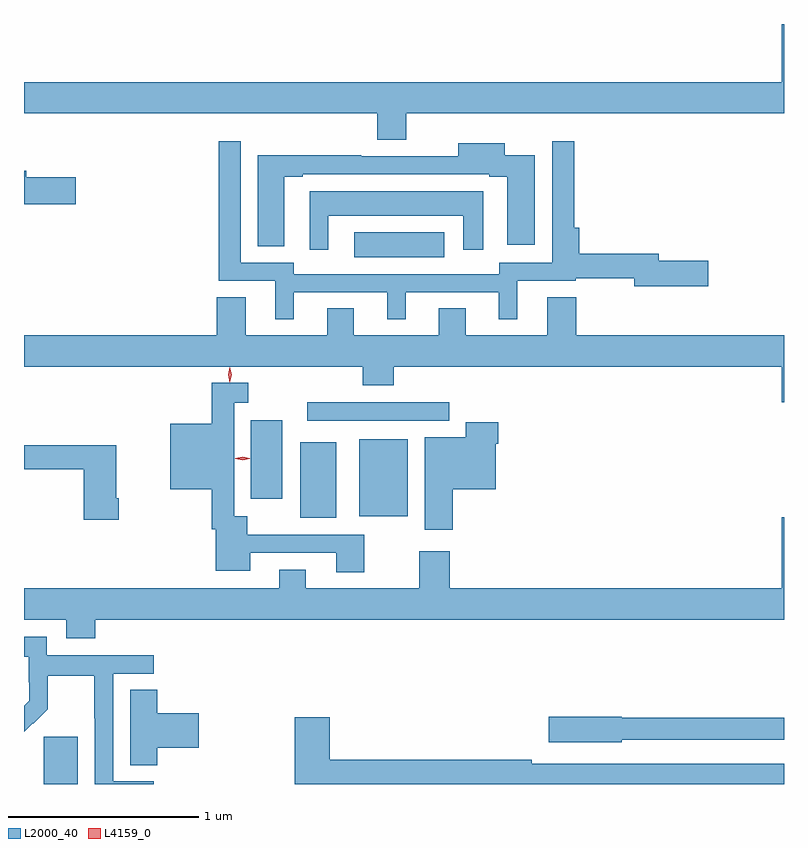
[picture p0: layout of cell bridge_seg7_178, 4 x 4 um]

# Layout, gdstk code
import gdstk
lib = gdstk.Library(unit=1e-6, precision=1e-09)
def R(c, l, rs):  # rectangles x0, y0, x1, y1
    for r in rs: c.add(gdstk.rectangle(r[:2], r[2:], *l))
def P(c, l, *ps):  # polygons
    for p in ps: c.add(gdstk.Polygon(p, *l))
L2000_40 = (2000, 40)
L4159_0 = (4159, 0)

bridge_seg7_178 = lib.new_cell('bridge_seg7_178')
R(bridge_seg7_178, L2000_40, [(448.838,1027.723,449.017,1027.971), (450.188,1029.125,450.376,1029.523), (450.497,1029.131,450.754,1029.538), (449.927,1029.225,450.091,1029.637), (450.225,1029.636,450.97,1029.732), (450.471,1030.496,450.946,1030.627)])
P(bridge_seg7_178, L2000_40, [(450.745,1031.252),(452.733,1031.252),(452.733,1031.723),(452.72,1031.723),(452.72,1031.416),(448.733,1031.416),(448.733,1031.252),(450.593,1031.252),(450.593,1031.113),(450.745,1031.113)],
  [(450.154,1030.311),(450.644,1030.311),(450.644,1030.17),(450.742,1030.17),(450.742,1030.311),(451.232,1030.311),(451.232,1030.17),(451.33,1030.17),(451.33,1030.371),(451.638,1030.371),(451.638,1030.386),(451.946,1030.386),(451.946,1030.343),(452.335,1030.343),(452.335,1030.478),(452.074,1030.478),(452.074,1030.514),(451.655,1030.514),(451.655,1030.651),(451.628,1030.651),(451.628,1031.107),(451.512,1031.107),(451.512,1030.467),(451.233,1030.467),(451.233,1030.407),(450.153,1030.407),(450.153,1030.467),(449.874,1030.467),(449.874,1031.107),(449.758,1031.107),(449.758,1030.371),(450.056,1030.371),(450.056,1030.17),(450.154,1030.17)],
  [(450.103,1030.92),(450.199,1030.92),(450.199,1030.932),(451.181,1030.932),(451.181,1030.92),(451.277,1030.92),(451.277,1030.56),(451.42,1030.56),(451.42,1031.031),(451.264,1031.031),(451.264,1031.095),(451.019,1031.095),(451.019,1031.028),(450.509,1031.028),(450.509,1031.031),(449.963,1031.031),(449.963,1030.554),(450.103,1030.554)],
  [(449.005,1030.917),(448.744,1030.917),(448.744,1030.951),(448.733,1030.951),(448.733,1030.775),(449.005,1030.775)],
  [(450.334,1030.715),(451.046,1030.715),(451.046,1030.536),(451.15,1030.536),(451.15,1030.843),(450.236,1030.843),(450.236,1030.536),(450.334,1030.536)],
  [(452.733,1030.084),(451.64,1030.084),(451.64,1030.286),(451.487,1030.286),(451.487,1030.084),(451.057,1030.084),(451.057,1030.226),(450.917,1030.226),(450.917,1030.084),(450.469,1030.084),(450.469,1030.226),(450.329,1030.226),(450.329,1030.084),(449.899,1030.084),(449.899,1030.286),(449.747,1030.286),(449.747,1030.084),(448.733,1030.084),(448.733,1029.92),(450.515,1029.92),(450.515,1029.821),(450.68,1029.821),(450.68,1029.92),(452.72,1029.92),(452.72,1029.732),(452.733,1029.732)],
  [(450.525,1029.036),(449.908,1029.036),(449.908,1029.133),(449.839,1029.133),(449.839,1029.729),(449.914,1029.729),(449.914,1029.835),(449.722,1029.835),(449.722,1029.619),(449.504,1029.619),(449.504,1029.275),(449.722,1029.275),(449.722,1029.065),(449.741,1029.065),(449.741,1028.846),(449.923,1028.846),(449.923,1028.94),(450.377,1028.94),(450.377,1028.838),(450.525,1028.838)],
  [(450.989,1029.275),(451.216,1029.275),(451.216,1029.515),(451.229,1029.515),(451.229,1029.628),(451.058,1029.628),(451.058,1029.547),(450.842,1029.547),(450.842,1029.06),(450.989,1029.06)],
  [(449.231,1029.226),(449.218,1029.226),(449.218,1029.507),(448.733,1029.507),(448.733,1029.379),(449.048,1029.379),(449.048,1029.114),(449.231,1029.114)],
  [(449.108,1028.588),(452.733,1028.588),(452.733,1029.127),(452.72,1029.127),(452.72,1028.752),(450.974,1028.752),(450.974,1028.947),(450.814,1028.947),(450.814,1028.752),(450.217,1028.752),(450.217,1028.851),(450.077,1028.851),(450.077,1028.752),(448.733,1028.752),(448.733,1028.588),(448.955,1028.588),(448.955,1028.489),(449.108,1028.489)],
  [(449.416,1027.737),(449.202,1027.737),(449.202,1028.304),(449.416,1028.304),(449.416,1028.4),(448.854,1028.4),(448.854,1028.497),(448.733,1028.497),(448.733,1028.393),(448.758,1028.393),(448.758,1028.259),(448.76,1028.259),(448.76,1028.162),(448.733,1028.135),(448.733,1027.997),(448.779,1028.043),(448.782,1028.04),(448.859,1028.117),(448.859,1028.292),(449.104,1028.292),(449.104,1028.068),(449.106,1028.068),(449.106,1027.723),(449.416,1027.723)],
  [(449.435,1027.913),(449.653,1027.913),(449.653,1028.096),(449.435,1028.096),(449.435,1028.219),(449.291,1028.219),(449.291,1027.822),(449.435,1027.822)],
  [(451.878,1027.956),(452.733,1027.956),(452.733,1028.072),(451.878,1028.072),(451.878,1028.078),(451.494,1028.078),(451.494,1027.943),(451.878,1027.943)],
  [(452.733,1027.83),(451.406,1027.83),(451.406,1027.85),(450.341,1027.85),(450.341,1028.074),(450.158,1028.074),(450.158,1027.723),(452.733,1027.723)])
P(bridge_seg7_178, L4159_0, [(449.884,1029.426),(449.846,1029.436),(449.846,1029.436),(449.846,1029.437),(449.884,1029.446),(449.922,1029.437),(449.922,1029.436),(449.922,1029.436)],
  [(449.817,1029.834),(449.816,1029.835),(449.807,1029.876),(449.816,1029.917),(449.817,1029.917),(449.817,1029.917),(449.827,1029.876),(449.817,1029.835)])

lib.write_gds('bridge_seg7_178.gds')
